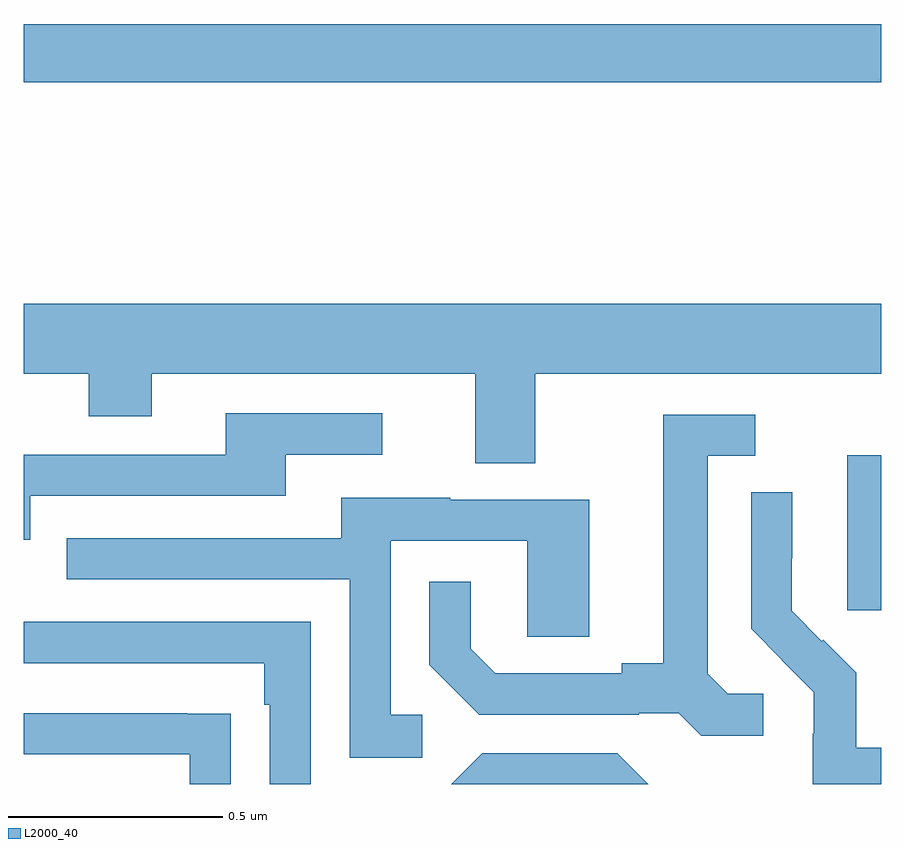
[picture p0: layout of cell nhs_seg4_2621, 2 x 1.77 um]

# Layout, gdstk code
import gdstk
lib = gdstk.Library(unit=1e-6, precision=1e-09)
def R(c, l, rs):  # rectangles x0, y0, x1, y1
    for r in rs: c.add(gdstk.rectangle(r[:2], r[2:], *l))
def P(c, l, *ps):  # polygons
    for p in ps: c.add(gdstk.Polygon(p, *l))
L2000_40 = (2000, 40)

nhs_seg4_2621 = lib.new_cell('nhs_seg4_2621')
R(nhs_seg4_2621, L2000_40, [(144.92,760.305,145,760.666), (143,761.536,145,761.672)])
P(nhs_seg4_2621, L2000_40, [(144.193,760.856),(145,760.856),(145,761.02),(143,761.02),(143,760.856),(143.152,760.856),(143.152,760.757),(143.299,760.757),(143.299,760.856),(144.053,760.856),(144.053,760.648),(144.193,760.648)],
  [(143.016,760.572),(143.611,760.572),(143.611,760.668),(143.836,760.668),(143.836,760.764),(143.471,760.764),(143.471,760.668),(143,760.668),(143,760.469),(143.016,760.469)],
  [(144.724,760.11),(144.642,760.11),(144.595,760.157),(144.595,760.665),(144.706,760.665),(144.706,760.761),(144.491,760.761),(144.491,760.181),(144.395,760.181),(144.395,760.158),(144.1,760.158),(144.043,760.215),(144.043,760.372),(143.946,760.372),(143.946,760.178),(144.062,760.062),(144.434,760.062),(144.434,760.065),(144.528,760.065),(144.58,760.013),(144.724,760.013)],
  [(145,759.985),(144.941,759.985),(144.941,760.159),(144.864,760.236),(144.861,760.233),(144.791,760.304),(144.791,760.426),(144.792,760.426),(144.792,760.58),(144.696,760.58),(144.696,760.262),(144.769,760.189),(144.768,760.188),(144.842,760.114),(144.842,760.017),(144.84,760.017),(144.84,759.9),(145,759.9)],
  [(143.929,760.062),(143.856,760.062),(143.856,760.467),(144.174,760.467),(144.174,760.243),(144.319,760.243),(144.319,760.563),(143.995,760.563),(143.995,760.567),(143.741,760.567),(143.741,760.473),(143.101,760.473),(143.101,760.377),(143.76,760.377),(143.76,759.961),(143.929,759.961)],
  [(143.67,760.278),(143,760.278),(143,760.182),(143.561,760.182),(143.561,760.085),(143.574,760.085),(143.574,759.9),(143.67,759.9)],
  [(143.483,760.064),(143.381,760.064),(143.381,760.065),(143,760.065),(143,759.969),(143.387,759.969),(143.387,759.9),(143.483,759.9)],
  [(144.384,759.972),(144.069,759.972),(143.997,759.9),(144.456,759.9)])

lib.write_gds('nhs_seg4_2621.gds')
